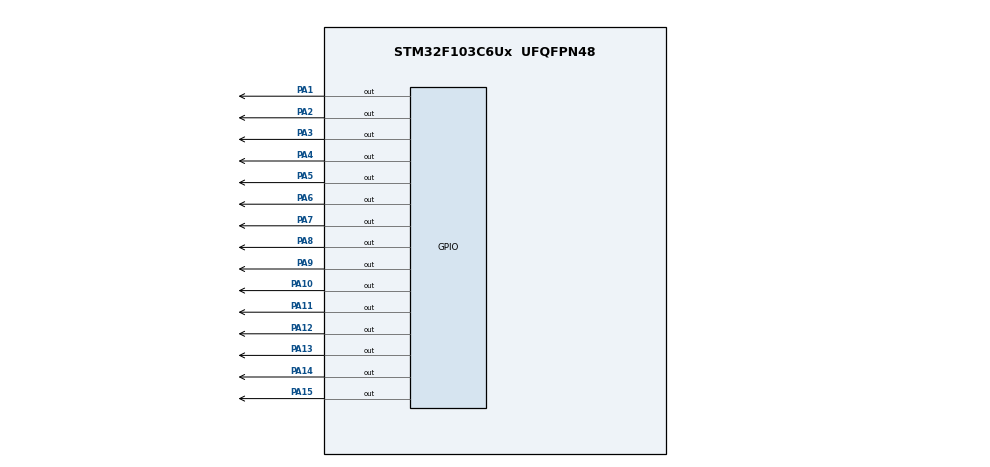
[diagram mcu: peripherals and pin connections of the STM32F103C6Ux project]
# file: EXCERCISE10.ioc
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Mcu.Family=STM32F1
Mcu.Name=STM32F103C6Ux
Mcu.Package=UFQFPN48
NVIC.PriorityGroup=NVIC_PRIORITYGROUP_4
PA1.Signal=GPIO_Output
PA10.Signal=GPIO_Output
PA11.Signal=GPIO_Output
PA12.Signal=GPIO_Output
PA13.Signal=GPIO_Output
PA14.Signal=GPIO_Output
PA15.Signal=GPIO_Output
PA2.Signal=GPIO_Output
PA3.Signal=GPIO_Output
PA4.Signal=GPIO_Output
PA5.Signal=GPIO_Output
PA6.Signal=GPIO_Output
PA7.Signal=GPIO_Output
PA8.Signal=GPIO_Output
PA9.Signal=GPIO_Output
ProjectManager.HeapSize=0x200
ProjectManager.StackSize=0x400
ProjectManager.TargetToolchain=STM32CubeIDE
RCC.APB1Freq_Value=8000000
RCC.APB2Freq_Value=8000000
VP_SYS_VS_ND.Mode=No_Debug
board=custom

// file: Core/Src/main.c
/* USER CODE BEGIN Header */
/**
  ******************************************************************************
  * @file           : main.c
  * @brief          : Main program body
  ******************************************************************************
  * @attention
  *
  * <h2><center>&copy; Copyright (c) 2023 STMicroelectronics.
  * All rights reserved.</center></h2>
  *
  * This software component is licensed by ST under BSD 3-Clause license,
  * the "License"; You may not use this file except in compliance with the
  * License. You may obtain a copy of the License at:
  *                        opensource.org/licenses/BSD-3-Clause
  *
  ******************************************************************************
  */
/* USER CODE END Header */
#include "main.h"

void SystemClock_Config(void);
static void MX_GPIO_Init(void);

int main(void)
{

  /* MCU Configuration--------------------------------------------------------*/

  /* Reset of all peripherals, Initializes the Flash interface and the Systick. */
  HAL_Init();

  /* Configure the system clock */
  SystemClock_Config();

  /* Initialize all configured peripherals */
  MX_GPIO_Init();

  /* Infinite loop */
  /* USER CODE BEGIN WHILE */
  uint16_t LEDPIN[12] = { GPIO_PIN_4, GPIO_PIN_5, GPIO_PIN_6, GPIO_PIN_7, GPIO_PIN_8, GPIO_PIN_9,
  		  GPIO_PIN_10, GPIO_PIN_11, GPIO_PIN_12, GPIO_PIN_13, GPIO_PIN_14, GPIO_PIN_15 };
    void setNumberOnClock(int i){
  	  HAL_GPIO_WritePin(GPIOA, LEDPIN[i], RESET);
    }
    int sec = 0, min = 0, hour = 0, countsec = 0, countmin = 0;

  while (1)
  {
	  HAL_GPIO_WritePin(GPIOA, GPIO_PIN_4 | GPIO_PIN_5 | GPIO_PIN_6 | GPIO_PIN_7 | GPIO_PIN_8 | GPIO_PIN_9 |
	     			  GPIO_PIN_10 | GPIO_PIN_11 | GPIO_PIN_12 | GPIO_PIN_13 | GPIO_PIN_14 | GPIO_PIN_15, SET);
	  setNumberOnClock(sec);
	  setNumberOnClock(min);
	  setNumberOnClock(hour);
	  countsec ++;
	  if(countsec >=5){
	  countsec = 0;
	  sec ++;
	  	  if(sec >= 12 ){
	  		  sec = 0;
	  		  countmin ++;
	  		  if(countmin >=5){
	  			  countmin = 0;
	  			  min++;
	  			  if(min >=12){
	  			  min = 0;
	  			  hour ++;
	  			  	  if(hour >=12) hour = 0;
	  			  }
	  		  }
	  	  }
	  }
	  HAL_Delay(1000);
    /* USER CODE END WHILE */

  }
}

void SystemClock_Config(void)
{
  RCC_OscInitTypeDef RCC_OscInitStruct = {0};
  RCC_ClkInitTypeDef RCC_ClkInitStruct = {0};

  /** Initializes the RCC Oscillators according to the specified parameters
  * in the RCC_OscInitTypeDef structure.
  */
  RCC_OscInitStruct.OscillatorType = RCC_OSCILLATORTYPE_HSI;
  RCC_OscInitStruct.HSIState = RCC_HSI_ON;
  RCC_OscInitStruct.HSICalibrationValue = RCC_HSICALIBRATION_DEFAULT;
  RCC_OscInitStruct.PLL.PLLState = RCC_PLL_NONE;
  if (HAL_RCC_OscConfig(&RCC_OscInitStruct) != HAL_OK)
  {
    Error_Handler();
  }
  /** Initializes the CPU, AHB and APB buses clocks
  */
  RCC_ClkInitStruct.ClockType = RCC_CLOCKTYPE_HCLK|RCC_CLOCKTYPE_SYSCLK
                              |RCC_CLOCKTYPE_PCLK1|RCC_CLOCKTYPE_PCLK2;
  RCC_ClkInitStruct.SYSCLKSource = RCC_SYSCLKSOURCE_HSI;
  RCC_ClkInitStruct.AHBCLKDivider = RCC_SYSCLK_DIV1;
  RCC_ClkInitStruct.APB1CLKDivider = RCC_HCLK_DIV1;
  RCC_ClkInitStruct.APB2CLKDivider = RCC_HCLK_DIV1;

  if (HAL_RCC_ClockConfig(&RCC_ClkInitStruct, FLASH_LATENCY_0) != HAL_OK)
  {
    Error_Handler();
  }
}

static void MX_GPIO_Init(void)
{
  GPIO_InitTypeDef GPIO_InitStruct = {0};

  /* GPIO Ports Clock Enable */
  __HAL_RCC_GPIOA_CLK_ENABLE();

  /*Configure GPIO pin Output Level */
  HAL_GPIO_WritePin(GPIOA, GPIO_PIN_1|GPIO_PIN_2|GPIO_PIN_3|GPIO_PIN_4
                          |GPIO_PIN_5|GPIO_PIN_6|GPIO_PIN_7|GPIO_PIN_8
                          |GPIO_PIN_9|GPIO_PIN_10|GPIO_PIN_11|GPIO_PIN_12
                          |GPIO_PIN_13|GPIO_PIN_14|GPIO_PIN_15, GPIO_PIN_RESET);

  /*Configure GPIO pins : PA1 PA2 PA3 PA4
                           PA5 PA6 PA7 PA8
                           PA9 PA10 PA11 PA12
                           PA13 PA14 PA15 */
  GPIO_InitStruct.Pin = GPIO_PIN_1|GPIO_PIN_2|GPIO_PIN_3|GPIO_PIN_4
                          |GPIO_PIN_5|GPIO_PIN_6|GPIO_PIN_7|GPIO_PIN_8
                          |GPIO_PIN_9|GPIO_PIN_10|GPIO_PIN_11|GPIO_PIN_12
                          |GPIO_PIN_13|GPIO_PIN_14|GPIO_PIN_15;
  GPIO_InitStruct.Mode = GPIO_MODE_OUTPUT_PP;
  GPIO_InitStruct.Pull = GPIO_NOPULL;
  GPIO_InitStruct.Speed = GPIO_SPEED_FREQ_LOW;
  HAL_GPIO_Init(GPIOA, &GPIO_InitStruct);

}

void Error_Handler(void)
{
  __disable_irq();
  while (1)
  {
  }
}

/************************ (C) COPYRIGHT STMicroelectronics *****END OF FILE****/
